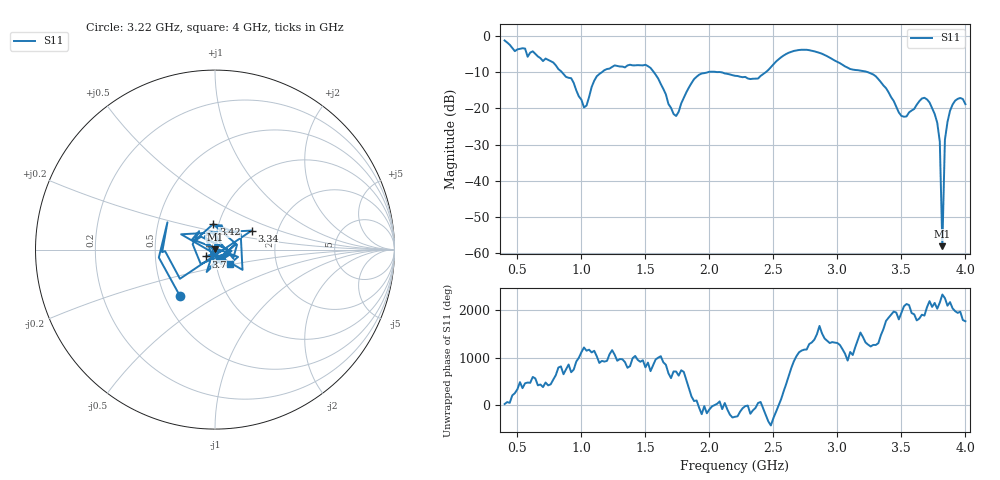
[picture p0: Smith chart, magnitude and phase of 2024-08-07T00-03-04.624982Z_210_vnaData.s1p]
!Created with skrf (http://scikit-rf.org).
# Hz S RI R 50.0
!freq ReS11 ImS11
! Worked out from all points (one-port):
!   181 points, 400 MHz to 4 GHz, reference 50 ohm
!   lowest |S11| = -58.1 dB at 3.82 GHz (marker M1), VSWR 1.00, Z = 49.9 + j0.056 ohm
!   |S11| at or under -10 dB: 1.566 GHz to 1.987 GHz (420.9 MHz wide, 23.7 % of centre); 2.092 GHz to 2.44 GHz (347.9 MHz wide, 15.4 % of centre); 3.24 GHz to end of sweep (the widest 3 of 4)
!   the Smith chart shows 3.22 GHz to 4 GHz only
!   S11 on the Smith chart (normalised r, x): 3.22 GHz: 0.60, -0.35; 3.34 GHz: 1.47, +0.33; 3.42 GHz: 0.94, +0.27; 3.78 GHz: 0.90, -0.07; 4 GHz: 1.16, -0.19
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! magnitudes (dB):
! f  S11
! 400 MHz  -1.2
! 860 MHz  -10.5
! 920 MHz  -11.6
! 1.02 GHz  -19.7
! 1.12 GHz  -11.1
! 1.3 GHz  -8.4
! 1.54 GHz  -8.8
! 1.72 GHz  -21.5
! 1.76 GHz  -20.9
! 1.92 GHz  -10.7
! 2.2 GHz  -11.0
! 2.38 GHz  -11.7
! 2.66 GHz  -4.1
! 2.86 GHz  -4.6
! 3.1 GHz  -9.1
! 3.22 GHz  -9.8
! 3.34 GHz  -12.8
! 3.42 GHz  -16.9
! 3.5 GHz  -22.1
! 3.56 GHz  -21.1
! 3.68 GHz  -17.1
! 3.78 GHz  -24.0
! 3.8 GHz  -29.2
! 3.82 GHz  -58.1
! 3.84 GHz  -28.7
! 3.86 GHz  -23.8
! 3.92 GHz  -17.9
! 4 GHz  -18.8
